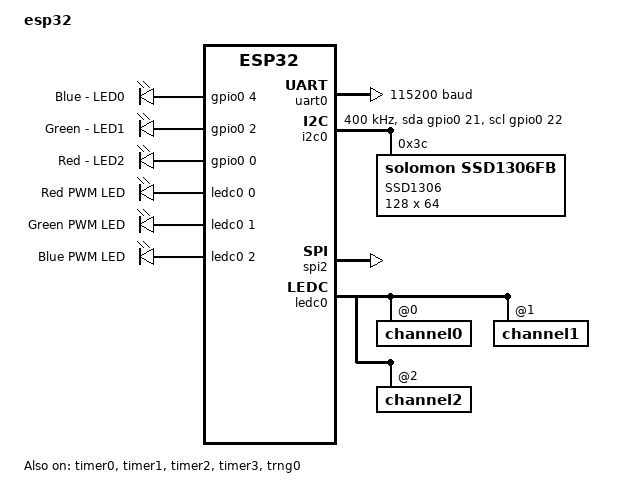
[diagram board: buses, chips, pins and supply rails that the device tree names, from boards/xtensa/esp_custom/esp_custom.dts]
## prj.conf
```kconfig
CONFIG_MAIN_STACK_SIZE=2048
CONFIG_I2C=y
CONFIG_DISPLAY=y
CONFIG_DISPLAY_LOG_LEVEL_ERR=y

CONFIG_LOG=y

CONFIG_LVGL=y
CONFIG_HEAP_MEM_POOL_SIZE=6144
CONFIG_APP_LINK_WITH_LVGL=y
CONFIG_LV_MEM_SIZE_KILOBYTES=8
CONFIG_LV_MEM_CUSTOM=n
CONFIG_LV_USE_LOG=y
CONFIG_LV_USE_LABEL=y
CONFIG_LV_USE_BTN=y
CONFIG_LV_USE_IMG=y
CONFIG_LV_COLOR_DEPTH_1=y
CONFIG_LV_CONF_MINIMAL=y
CONFIG_LV_FONT_MONTSERRAT_8=y
CONFIG_LV_COLOR_16_SWAP=y

CONFIG_SSD1306=y
CONFIG_SSD1306_DEFAULT=y

CONFIG_LV_USE_THEME_DEFAULT=y
CONFIG_LV_Z_VDB_SIZE=64


#CONFIG_LVGL_HOR_RES_MAX=128
#CONFIG_LVGL_VER_RES_MAX=64
#CONFIG_LVGL_VDB_SIZE=50
#CONFIG_LVGL_BITS_PER_PIXEL=1

#CONFIG_LVGL_USE_DEBUG=y
#CONFIG_LVGL_COLOR_DEPTH_1=y
#CONFIG_LVGL_COLOR_TRANSP_GREEN=y
#CONFIG_LVGL_DISP_DEF_REFR_PERIOD=30
#CONFIG_LVGL_DISP_SMALL_LIMIT=30
#CONFIG_LVGL_DISP_MEDIUM_LIMIT=50
#CONFIG_LVGL_DISP_LARGE_LIMIT=70
#ONFIG_LVGL_MEM_POOL_HEAP_KERNEL=y
#CONFIG_LVGL_BUFFER_ALLOC_STATIC=y
# CONFIG_LVGL_INDEV_DEF_READ_PERIOD=50
# CONFIG_LVGL_INDEV_DEF_DRAG_LIMIT=10
# CONFIG_LVGL_INDEV_DEF_DRAG_THROW=20
# CONFIG_LVGL_INDEV_DEF_LONG_PRESS_TIME=400
# CONFIG_LVGL_INDEV_DEF_LONG_PRESS_REP_TIME=100
# CONFIG_LVGL_INDEV_DEF_GESTURE_LIMIT=50
#CONFIG_LVGL_INDEV_DEF_GESTURE_MIN_VELOCITY=3
# CONFIG_LVGL_IMG_CF_INDEXED=y
# CONFIG_LVGL_IMG_CF_ALPHA=y
# CONFIG_LVGL_IMG_CACHE_DEF_SIZE=1

#CONFIG_LVGL_USE_THEME_MONO=y
```

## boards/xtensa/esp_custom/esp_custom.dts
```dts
/*
 * Copyright (c) 2021 Espressif Systems (Shanghai) Co., Ltd.
 *
 * SPDX-License-Identifier: Apache-2.0
 */
/dts-v1/;

#include <espressif/esp32.dtsi>
#include "esp_custom-pinctrl.dtsi"

/ {
	model = "esp32";
	compatible = "espressif,esp32";

	aliases {
		led0 = &blue_led;
		led1 = &green_led;
		led2 = &red_led;
		pwm-led0 = &pwm_led_red;
		pwm-led1 = &pwm_led_green;
		pwm-led2 = &pwm_led_blue;
		red-pwm-led = &pwm_led_red;
		green-pwm-led = &pwm_led_green;
		blue-pwm-led = &pwm_led_blue;
		uart-0 = &uart0;
		i2c-0 = &i2c0;
		watchdog0 = &wdt0;
	};

	chosen {
		zephyr,sram = &sram0;
		zephyr,console = &uart0;
		zephyr,shell-uart = &uart0;
		zephyr,flash = &flash0;
		zephyr,display = &ssd1306;
		
	};

	leds {
		compatible = "gpio-leds";

		blue_led: led_0 {
			gpios =  <&gpio0 4 GPIO_ACTIVE_HIGH>;
			label = "Blue - LED0";
		};

		green_led: led_1 {
			gpios =  <&gpio0 2 GPIO_ACTIVE_HIGH>;
			label = "Green - LED1";
		};

		red_led: led_2 {
			gpios =  <&gpio0 0 GPIO_ACTIVE_HIGH>;
			label = "Red - LED2";
		};
	};
	pwmleds {
		compatible = "pwm-leds";
		pwm_led_red: pwm_led_0 {
			label = "Red PWM LED";
			pwms = <&ledc0 0 PWM_HZ(100) PWM_POLARITY_NORMAL>;
		};
		pwm_led_green: pwm_led_1 {
			label = "Green PWM LED";
			pwms = <&ledc0 1 PWM_HZ(100) PWM_POLARITY_NORMAL>;
		};
		pwm_led_blue: pwm_led_2 {
			label = "Blue PWM LED";
			pwms = <&ledc0 2 PWM_HZ(100) PWM_POLARITY_NORMAL>;
		};
	};
};

&cpu0 {
	clock-frequency = <ESP32_CLK_CPU_240M>;
};

&cpu1 {
	clock-frequency = <ESP32_CLK_CPU_240M>;
};

&uart0 {
	status = "okay";
	current-speed = <115200>;
	pinctrl-0 = <&uart0_default>;
	pinctrl-names = "default";
};

&gpio0 {
	status = "okay";
};

&gpio1 {
	status = "okay";
};

&i2c0 {
	status = "okay";
	clock-frequency = <I2C_BITRATE_FAST>;
	sda-gpios = <&gpio0 21 (GPIO_OPEN_DRAIN  )>;
	scl-gpios = <&gpio0 22 (GPIO_OPEN_DRAIN  )>;
	pinctrl-0 = <&i2c0_default>;
	pinctrl-names = "default";
	ssd1306: ssd1306@3c {
		compatible = "solomon,ssd1306fb";
		reg = < 0x3c >;
		label = "SSD1306";
		width = < 128 >;
		height = < 64 >;
		segment-offset = < 0x0 >;
		page-offset = < 0x0 >;
		display-offset = < 0x0 >;
		multiplex-ratio = < 0x3f >;
		segment-remap;
		com-invdir;
		prechargep = < 0x22 >;
	};	
};

&spi2 {
	#address-cells = <1>;
	#size-cells = <0>;
	status = "okay";
	pinctrl-0 = <&spim2_default>;
	pinctrl-names = "default";
};

// &spi3 {
// 	#address-cells = <1>;
// 	#size-cells = <0>;
// 	status = "okay";
// 	pinctrl-0 = <&spim3_default>;
// 	pinctrl-names = "default";

// 	ili9341: ili9341@0 {
// 		compatible = "ilitek,ili9341";
// 		spi-max-frequency = <25000000>;
// 		reg = <0>;
// 		cmd-data-gpios = <&gpio0 21 GPIO_ACTIVE_LOW>;
// 		reset-gpios = <&gpio0 18 GPIO_ACTIVE_LOW>;
// 		pixel-format = <0>;
// 		rotation = <0>;
// 		width = <240>;
// 		height = <320>;
// 	};
// };
&ledc0 {
	pinctrl-0 = <&ledc0_default>;
	pinctrl-names = "default";
	status = "okay";
	#address-cells = <1>;
	#size-cells = <0>;
	channel0@0 {
		reg = <0x0>;
		timer = <0>;
	};
	channel1@1 {
		reg = <0x1>;
		timer = <1>;
	};
	channel2@2 {
		reg = <0x2>;
		timer = <2>;
	};
};

&timer0 {
	status = "okay";
};

&timer1 {
	status = "okay";
};

&timer2 {
	status = "okay";
};

&timer3 {
	status = "okay";
};

&trng0 {
	status = "okay";
};

&flash0 {
	status = "okay";
	partitions {
		compatible = "fixed-partitions";
		#address-cells = <1>;
		#size-cells = <1>;

		/* Reserve 60kB for the bootloader */
		boot_partition: partition@1000 {
			label = "mcuboot";
			reg = <0x00001000 0x0000F000>;
			read-only;
		};

		/* Reserve 1024kB for the application in slot 0 */
		slot0_partition: partition@10000 {
			label = "image-0";
			reg = <0x00010000 0x00100000>;
		};

		/* Reserve 1024kB for the application in slot 1 */
		slot1_partition: partition@110000 {
			label = "image-1";
			reg = <0x00110000 0x00100000>;
		};

		/* Reserve 256kB for the scratch partition */
		scratch_partition: partition@210000 {
			   label = "image-scratch";
			   reg = <0x00210000 0x00040000>;
		};

		storage_partition: partition@250000 {
			label = "storage";
			reg = <0x00250000 0x00006000>;
		};
	};
};
```

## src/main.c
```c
/*
 * Copyright (c) 2018 Jan Van Winkel <jan.van_winkel@dxplore.eu>
 *
 * SPDX-License-Identifier: Apache-2.0
 */

#include <zephyr/device.h>
#include <zephyr/drivers/display.h>
#include <lvgl.h>
#include <stdio.h>
#include <string.h>
#include <zephyr/kernel.h>

#define LOG_LEVEL CONFIG_LOG_DEFAULT_LEVEL
#include <zephyr/logging/log.h>
LOG_MODULE_REGISTER(app);

void lv_example_style_11(void)
{
    /*A base style*/
    static lv_style_t style_base;
    lv_style_init(&style_base);
    lv_style_set_bg_color(&style_base, lv_palette_main(LV_PALETTE_GREEN));
    lv_style_set_border_color(&style_base, lv_palette_darken(LV_PALETTE_GREEN, 3));
    lv_style_set_border_width(&style_base, 2);
    lv_style_set_radius(&style_base, 3);
    lv_style_set_shadow_width(&style_base, 3);
    lv_style_set_shadow_ofs_y(&style_base, 3);
    lv_style_set_shadow_opa(&style_base, LV_OPA_50);
    lv_style_set_text_color(&style_base, lv_color_white());
    lv_style_set_width(&style_base, 64);
    lv_style_set_height(&style_base, 28);

    /*Set only the properties that should be different*/
    static lv_style_t style_warning;
    lv_style_init(&style_warning);
    //lv_style_set_bg_color(&style_warning, lv_palette_main(LV_PALETTE_RED));
    //lv_style_set_border_color(&style_warning, lv_palette_darken(LV_PALETTE_RED, 3));
    lv_style_set_text_color(&style_warning, lv_color_black());

    lv_obj_t * obj_warning = lv_obj_create(lv_scr_act());
    /*Create another object with the base style and earnings style too*/
    lv_obj_add_style(obj_warning, &style_base, 0);
    lv_obj_add_style(obj_warning, &style_warning, 0);

    /*Create an object with the base style only*/
    lv_obj_t * obj_base = lv_obj_create(lv_scr_act());
    lv_obj_add_style(obj_base, &style_base, 0);
    lv_obj_align(obj_base, LV_ALIGN_LEFT_MID, 0, 0);
    lv_obj_add_style(obj_base, &style_base, 0);
    lv_obj_add_style(obj_base, &style_warning, 0);

    lv_obj_t * label = lv_label_create(obj_base);
    lv_label_set_text(label, "Start");
    lv_obj_center(label);

    lv_obj_align(obj_warning, LV_ALIGN_RIGHT_MID, 0, 0);

    label = lv_label_create(obj_warning);
    lv_label_set_text(label, "Stop");
    lv_obj_center(label);
}

void lv_example_style_1(void)
{
    static lv_style_t style;
    lv_style_init(&style);
    lv_style_set_radius(&style, 5);

    /*Make a gradient*/
    lv_style_set_width(&style, 150);
    lv_style_set_height(&style, LV_SIZE_CONTENT);

    lv_style_set_pad_ver(&style, 20);
    lv_style_set_pad_left(&style, 5);

    lv_style_set_x(&style, lv_pct(50));
    lv_style_set_y(&style, 80);

    /*Create an object with the new style*/
    lv_obj_t * obj = lv_obj_create(lv_scr_act());
    lv_obj_add_style(obj, &style, 0);

    lv_obj_t * label = lv_label_create(obj);
    lv_label_set_text(label, "Hello");
}


void lv_example_style_2(void)
{
    static lv_style_t style;
    lv_style_init(&style);
    lv_style_set_radius(&style, 5);

    /*Make a gradient*/
    lv_style_set_bg_opa(&style, LV_OPA_COVER);
    static lv_grad_dsc_t grad;
    grad.dir = LV_GRAD_DIR_VER;
    grad.stops_count = 2;
    grad.stops[0].color = lv_palette_lighten(LV_PALETTE_GREY, 1);
    grad.stops[1].color = lv_palette_main(LV_PALETTE_BLUE);

    /*Shift the gradient to the bottom*/
    grad.stops[0].frac  = 128;
    grad.stops[1].frac  = 192;

    lv_style_set_bg_grad(&style, &grad);

    /*Create an object with the new style*/
    lv_obj_t * obj = lv_obj_create(lv_scr_act());
    lv_obj_add_style(obj, &style, 0);
    lv_obj_center(obj);
}

void main(void)
{
	uint32_t count = 0U;
	char count_str[11] = {0};
	const struct device *display_dev;
	lv_obj_t *hello_world_label;
	lv_obj_t *count_label;
	static lv_style_t style;

	display_dev = DEVICE_DT_GET(DT_CHOSEN(zephyr_display));
	if (!device_is_ready(display_dev)) {
		LOG_ERR("Device not ready, aborting test");
		return;
	}

	if (IS_ENABLED(CONFIG_LV_Z_POINTER_KSCAN)) {
		lv_obj_t *hello_world_button;

		hello_world_button = lv_btn_create(lv_scr_act());
		lv_obj_align(hello_world_button, LV_ALIGN_CENTER, 0, 0);
		hello_world_label = lv_label_create(hello_world_button);
	} else {
		hello_world_label = lv_label_create(lv_scr_act());
	}

	printk("Starting OLED SSD1306+LVGL DEMO\n");

	lv_label_set_text(hello_world_label, "Hello world!");
	lv_obj_align(hello_world_label, LV_ALIGN_CENTER, 0, 0);


    lv_style_init(&style);
	lv_style_set_text_decor(&style, LV_TEXT_DECOR_UNDERLINE);



	count_label = lv_label_create(lv_scr_act());
	lv_obj_add_style(count_label, &style, 0);
	lv_obj_align(count_label, LV_ALIGN_BOTTOM_MID, 0, 0);

	lv_example_style_11();
	//lv_example_style_2();

	lv_task_handler();
	display_blanking_off(display_dev);


	while (1) {
		if ((count % 100) == 0U) {
			sprintf(count_str, "%d", count/100U);
			lv_label_set_text(count_label, count_str);
			printk("Count %d\n",count);
		}
		lv_task_handler();
		k_sleep(K_MSEC(10));
		++count;
	}
}
```
